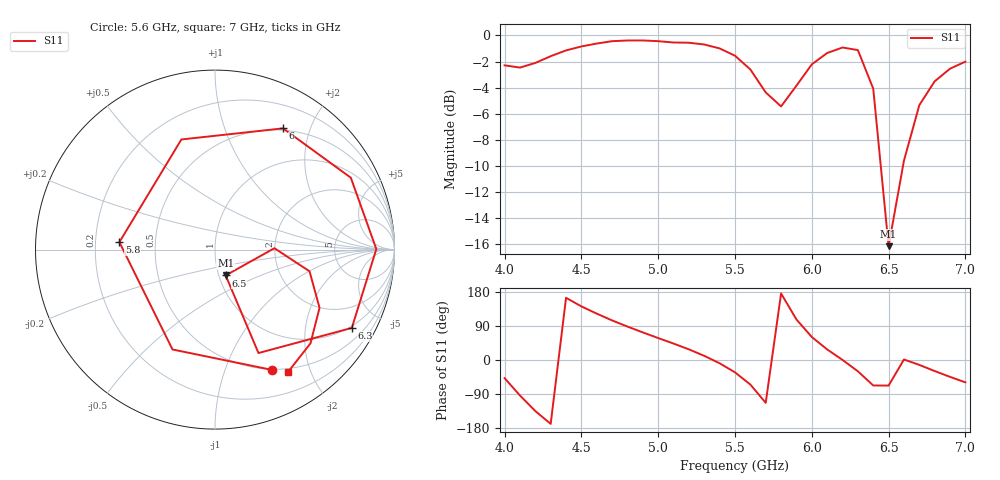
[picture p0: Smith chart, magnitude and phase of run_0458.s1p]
! Touchstone file exported from HFSS 2024.2.0
!  File:  C:/Users/wsak9/Desktop/Sim Fast/Widenad Patch/WP_AI_V1_sweep.aedt
!  Generated:  10:58:11 AM Oct 14, 2026
!  Design:  A1_model
!  Project:  WP_AI_V1_sweep
!  Setup:  Setup1
!  Solution:  Sweep
! Variables:
!  Air_gap = 2.8mm
!  Curve_Amp1 = 3.36
!  Curve_len1 = 1
!  Curve_pos = 9.53mm
!  Extra = 7.48mm
!  H_sub = 0.79mm
!  L_Patch = 15.06mm
!  L_Patch1 = 21.74mm
!  Sx = 4.92mm
!  Sy = 1.66mm
!  WS = 0.63mm
!  W_Patch = 15.71mm
!  W_Patch1 = 14.26mm
!Data is not renormalized
# GHz S MA
! Terminal data exported
! Port[1] = 1
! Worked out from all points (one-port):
!   31 points, 4 GHz to 7 GHz, reference per port
!   lowest |S11| = -16.2 dB at 6.5 GHz (marker M1), VSWR 1.37
!   |S11| at or under -10 dB: 6.449 GHz to 6.594 GHz (144.9 MHz wide, 2.22 % of centre)
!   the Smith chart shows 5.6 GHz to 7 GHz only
!   S11 on the Smith chart (normalised r, x): 5.6 GHz: 0.49, -1.46; 5.8 GHz: 0.30, +0.04; 6 GHz: 0.48, +1.60; 6.3 GHz: 0.93, -3.53; 6.5 GHz: 1.08, -0.32; 7 GHz: 0.46, -1.67
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4  0.7677 -47.9
4.1  0.7529 -93.6
4.2  0.7843 -134.8
4.3  0.8326 -168.5
4.4  0.876 164.1
4.5  0.9072 141.4
4.6  0.9307 122.3
4.7  0.9504 104.4
4.8  0.9561 88.2
5  0.9505 57.9
5.2  0.9375 28.1
5.3  0.9229 10.9
5.4  0.8915 -8.7
5.5  0.8358 -32.6
5.6  0.7404 -64.8
5.7  0.6047 -113.1
5.8  0.5343 175.5
5.9  0.6416 107.0
6  0.7745 60.7
6.1  0.8562 27.9
6.2  0.8988 0.2
6.3  0.8784 -29.8
6.4  0.6252 -67.2
6.5  0.1557 -67.5
6.6  0.3311 1.3
6.7  0.5404 -12.9
6.8  0.6669 -29.1
7  0.7932 -59.0
